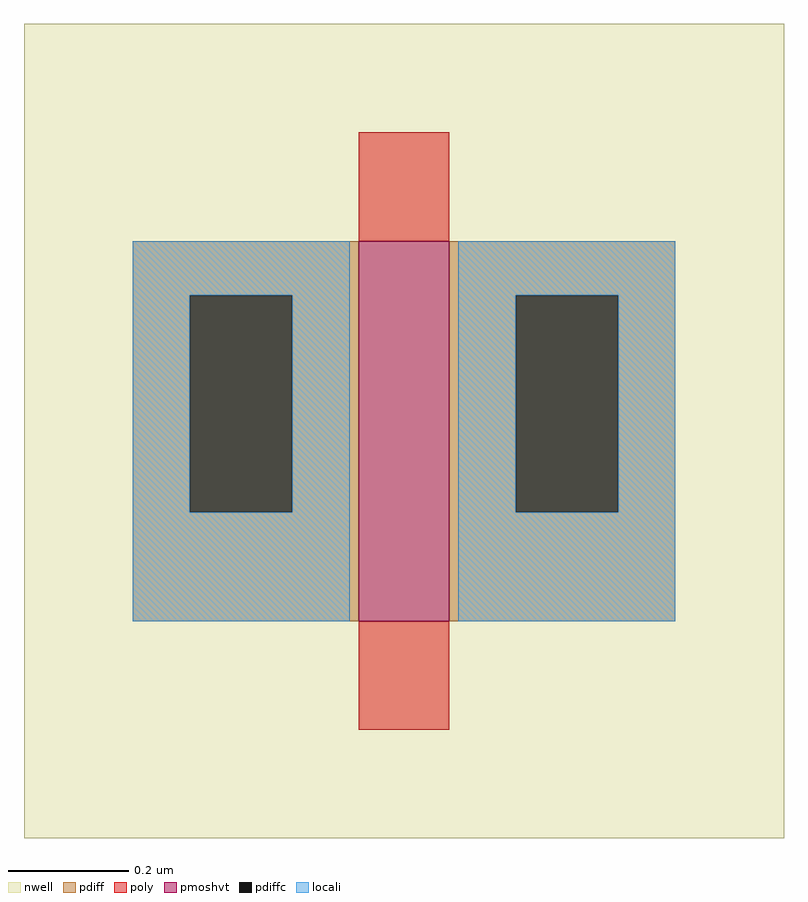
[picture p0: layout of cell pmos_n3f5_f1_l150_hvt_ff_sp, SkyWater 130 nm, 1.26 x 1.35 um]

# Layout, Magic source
magic
tech sky130A
magscale 1 2
<< nwell >>
rect -72 -72 180 198
<< pmoshvt >>
rect 39 0 69 126
<< pdiff >>
rect -36 108 39 126
rect -36 36 -17 108
rect 17 36 39 108
rect -36 0 39 36
rect 69 108 144 126
rect 69 36 91 108
rect 125 36 144 108
rect 69 0 144 36
<< pdiffc >>
rect -17 36 17 108
rect 91 36 125 108
<< poly >>
rect 39 126 69 162
rect 39 -36 69 0
<< locali >>
rect -36 108 36 126
rect -36 36 -17 108
rect 17 36 36 108
rect -36 0 36 36
rect 72 108 144 126
rect 72 36 91 108
rect 125 36 144 108
rect 72 0 144 36
<< end >>
